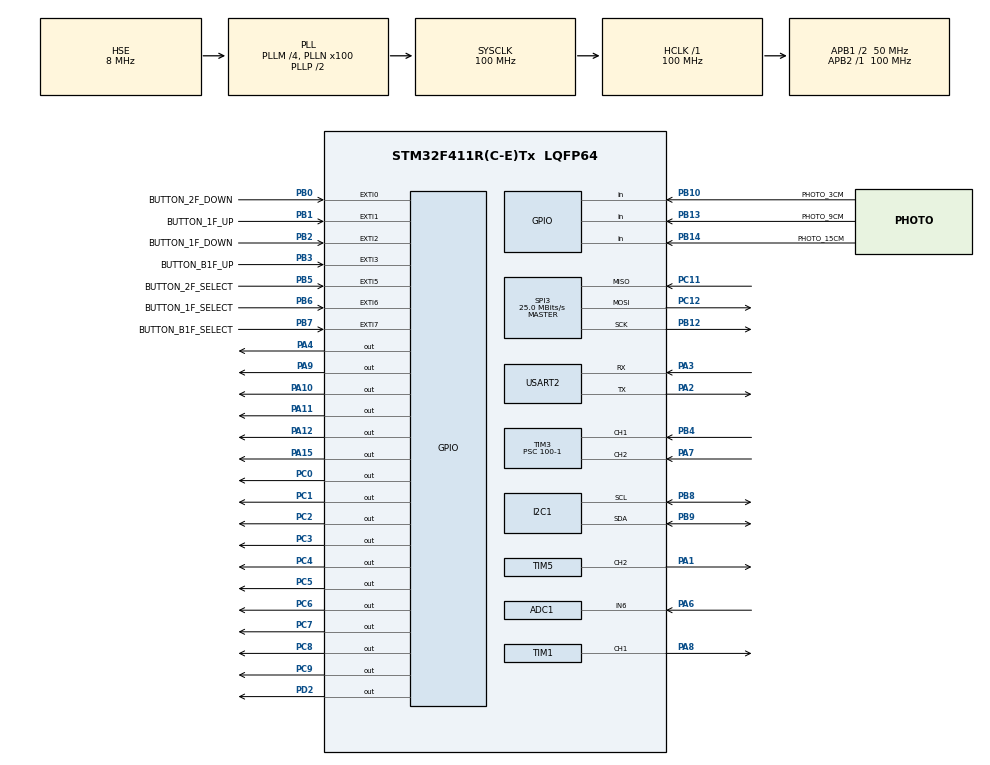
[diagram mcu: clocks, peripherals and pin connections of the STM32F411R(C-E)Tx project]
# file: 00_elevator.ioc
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ADC1.Channel-11\#ChannelRegularConversion=ADC_CHANNEL_6
ADC1.ContinuousConvMode=ENABLE
ADC1.NbrOfConversionFlag=1
ADC1.Rank-11\#ChannelRegularConversion=1
ADC1.SamplingTime-11\#ChannelRegularConversion=ADC_SAMPLETIME_3CYCLES
ADC1.master=1
Mcu.Family=STM32F4
Mcu.Name=STM32F411R(C-E)Tx
Mcu.Package=LQFP64
NVIC.EXTI0_IRQn=true\:0\:0\:false\:false\:true\:true\:true\:true
NVIC.EXTI1_IRQn=true\:0\:0\:false\:false\:true\:true\:true\:true
NVIC.EXTI2_IRQn=true\:0\:0\:false\:false\:true\:true\:true\:true
NVIC.EXTI3_IRQn=true\:0\:0\:false\:false\:true\:true\:true\:true
NVIC.EXTI9_5_IRQn=true\:0\:0\:false\:false\:true\:true\:true\:true
NVIC.PriorityGroup=NVIC_PRIORITYGROUP_4
PA1.Signal=S_TIM5_CH2
PA10.GPIO_Speed=GPIO_SPEED_FREQ_HIGH
PA10.Signal=GPIO_Output
PA11.GPIO_Speed=GPIO_SPEED_FREQ_HIGH
PA11.Signal=GPIO_Output
PA12.GPIO_Speed=GPIO_SPEED_FREQ_HIGH
PA12.Signal=GPIO_Output
PA13.Mode=Serial_Wire
PA13.Signal=SYS_JTMS-SWDIO
PA14.Mode=Serial_Wire
PA14.Signal=SYS_JTCK-SWCLK
PA15.Signal=GPIO_Output
PA2.Mode=Asynchronous
PA2.Signal=USART2_TX
PA3.Mode=Asynchronous
PA3.Signal=USART2_RX
PA4.Signal=GPIO_Output
PA6.Signal=ADCx_IN6
PA7.Signal=S_TIM3_CH2
PA8.Signal=S_TIM1_CH1
PA9.GPIO_Speed=GPIO_SPEED_FREQ_HIGH
PA9.Signal=GPIO_Output
PB0.GPIO_Label=BUTTON_2F_DOWN
PB0.GPIO_ModeDefaultEXTI=GPIO_MODE_IT_FALLING
PB0.Signal=GPXTI0
PB1.GPIO_Label=BUTTON_1F_UP
PB1.GPIO_ModeDefaultEXTI=GPIO_MODE_IT_FALLING
PB1.Signal=GPXTI1
PB10.GPIO_Label=PHOTO_3CM
PB10.Signal=GPIO_Input
PB12.Mode=Full_Duplex_Master
PB12.Signal=SPI3_SCK
PB13.GPIO_Label=PHOTO_9CM
PB13.Signal=GPIO_Input
PB14.GPIO_Label=PHOTO_15CM
PB14.Signal=GPIO_Input
PB2.GPIO_Label=BUTTON_1F_DOWN
PB2.GPIO_ModeDefaultEXTI=GPIO_MODE_IT_FALLING
PB2.Signal=GPXTI2
PB3.GPIO_Label=BUTTON_B1F_UP
PB3.GPIO_ModeDefaultEXTI=GPIO_MODE_IT_FALLING
PB3.Signal=GPXTI3
PB4.Signal=S_TIM3_CH1
PB5.GPIO_Label=BUTTON_2F_SELECT
PB5.GPIO_ModeDefaultEXTI=GPIO_MODE_IT_FALLING
PB5.Signal=GPXTI5
PB6.GPIO_Label=BUTTON_1F_SELECT
PB6.GPIO_ModeDefaultEXTI=GPIO_MODE_IT_FALLING
PB6.Signal=GPXTI6
PB7.GPIO_Label=BUTTON_B1F_SELECT
PB7.GPIO_ModeDefaultEXTI=GPIO_MODE_IT_FALLING
PB7.Signal=GPXTI7
PB8.Mode=I2C
PB8.Signal=I2C1_SCL
PB9.Mode=I2C
PB9.Signal=I2C1_SDA
PC0.Signal=GPIO_Output
PC1.Signal=GPIO_Output
PC11.Mode=Full_Duplex_Master
PC11.Signal=SPI3_MISO
PC12.Mode=Full_Duplex_Master
PC12.Signal=SPI3_MOSI
PC2.Signal=GPIO_Output
PC3.Signal=GPIO_Output
PC4.Signal=GPIO_Output
PC5.Signal=GPIO_Output
PC6.Signal=GPIO_Output
PC7.Signal=GPIO_Output
PC8.Signal=GPIO_Output
PC9.Signal=GPIO_Output
PD2.Signal=GPIO_Output
PH0\ -\ OSC_IN.Mode=HSE-External-Oscillator
PH0\ -\ OSC_IN.Signal=RCC_OSC_IN
PH1\ -\ OSC_OUT.Mode=HSE-External-Oscillator
PH1\ -\ OSC_OUT.Signal=RCC_OSC_OUT
ProjectManager.HeapSize=0x200
ProjectManager.StackSize=0x400
ProjectManager.TargetToolchain=STM32CubeIDE
RCC.48MHZClocksFreq_Value=50000000
RCC.AHBFreq_Value=100000000
RCC.APB1CLKDivider=RCC_HCLK_DIV2
RCC.APB1Freq_Value=50000000
RCC.APB1TimFreq_Value=100000000
RCC.APB2Freq_Value=100000000
RCC.APB2TimFreq_Value=100000000
RCC.CortexFreq_Value=100000000
RCC.HCLKFreq_Value=100000000
RCC.HSE_VALUE=8000000
RCC.HSI_VALUE=16000000
RCC.LSE_VALUE=32768
RCC.PLLM=4
RCC.PLLN=100
RCC.PLLSourceVirtual=RCC_PLLSOURCE_HSE
RCC.SYSCLKFreq_VALUE=100000000
RCC.SYSCLKSource=RCC_SYSCLKSOURCE_PLLCLK
RCC.VCOOutputFreq_Value=200000000
SH.ADCx_IN6.0=ADC1_IN6,IN6
SH.S_TIM1_CH1.0=TIM1_CH1,PWM Generation1 CH1
SH.S_TIM3_CH1.0=TIM3_CH1,Input_Capture1_from_TI1
SH.S_TIM3_CH2.0=TIM3_CH2,Input_Capture2_from_TI2
SH.S_TIM5_CH2.0=TIM5_CH2,PWM Generation2 CH2
SPI3.CalculateBaudRate=25.0 MBits/s
SPI3.Direction=SPI_DIRECTION_2LINES
SPI3.Mode=SPI_MODE_MASTER
SPI3.VirtualType=VM_MASTER
TIM1.Channel-PWM\ Generation1\ CH1=TIM_CHANNEL_1
TIM1.Period=1000-1
TIM1.Prescaler=2000-1
TIM1.Pulse-PWM\ Generation1\ CH1=500-1
TIM11.Prescaler=100-1
TIM2.Period=65536-1
TIM2.Prescaler=100-1
TIM3.Channel-Input_Capture1_from_TI1=TIM_CHANNEL_1
TIM3.Channel-Input_Capture2_from_TI2=TIM_CHANNEL_2
TIM3.Prescaler=100-1
TIM5.Channel-PWM\ Generation2\ CH2=TIM_CHANNEL_2
TIM5.Period=1000-1
TIM5.Prescaler=2000-1
USART2.VirtualMode=VM_ASYNC
VP_TIM10_VS_ClockSourceINT.Mode=Enable_Timer
VP_TIM11_VS_ClockSourceINT.Mode=Enable_Timer
VP_TIM1_VS_ClockSourceINT.Mode=Internal
VP_TIM2_VS_ClockSourceINT.Mode=Internal
VP_TIM3_VS_ClockSourceINT.Mode=Internal
VP_TIM5_VS_ClockSourceINT.Mode=Internal
board=custom

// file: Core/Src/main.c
/* USER CODE BEGIN Header */
/**
  ******************************************************************************
  * @file           : main.c
  * @brief          : Main program body
  ******************************************************************************
  * @attention
  *
  * Copyright (c) 2025 STMicroelectronics.
  * All rights reserved.
  *
  * This software is licensed under terms that can be found in the LICENSE file
  * in the root directory of this software component.
  * If no LICENSE file comes with this software, it is provided AS-IS.
  *
  ******************************************************************************
  */
/* USER CODE END Header */
#include "main.h"
#include "adc.h"
#include "i2c.h"
#include "spi.h"
#include "tim.h"
#include "usart.h"
#include "gpio.h"

/* USER CODE BEGIN Includes */
#include "elevator.h"
#include "DHT11.h"
#include "water.h"
#include "buzzer.h"
#include "i2c_lcd.h"
/* USER CODE END Includes */

/* USER CODE BEGIN PTD */
typedef enum {
    ALWAY,       // 평상시
    OPENCLOSE,  // 문 열림, 닫힘
    DANGER,      // 위험
} LcdFlag;

LcdFlag lcd_flag = ALWAY;
uint8_t presence;

/* USER CODE END PTD */

/* USER CODE BEGIN PD */
#define TRIG_PORT GPIOA
#define TRIG_PIN  GPIO_PIN_5

/* USER CODE END PD */

/* USER CODE BEGIN PM */

#ifdef __GNUC__
/* With GCC small printf (option LD Linker->Libraries->Small printf
 * set to 'Yes') calls __io_putchar() */
#define PUTCHAR_PROTOTYPE int  __io_putchar(int ch)
#else
#define PUTCHAR_PROTOTYPE int  fputc(int ch, FILE *f)
#endif /* __GNUC__*/

/** @brief Retargets the C library printf function to the USART.
 *  @param None
 *  @retval None
 */
PUTCHAR_PROTOTYPE {
    HAL_UART_Transmit(&huart2, (uint8_t*)&ch, 1, 0xFFFF);
    if (ch == '\n') {
        HAL_UART_Transmit(&huart2, (uint8_t*)"\r", 1, 0xFFFF);
    }
    return ch;
}

/* USER CODE END PM */

/* USER CODE BEGIN PV */
extern uint8_t distance_F;
extern uint8_t distance_B;
volatile uint8_t rxdata1;
volatile uint8_t rxdata2;
volatile uint8_t rxdata3;
uint8_t presence;
uint8_t temp;
uint8_t can_operate_flag = 1;       // 엘리베이터 작동 가능 여부 플래그 (1: 가능, 0: 불가능)
/* USER CODE END PV */

void SystemClock_Config(void);
/* USER CODE BEGIN PFP */
void temp_process(void);
void water_process(void);

/* USER CODE END PFP */

int main(void)
{

  /* MCU Configuration--------------------------------------------------------*/

  /* Reset of all peripherals, Initializes the Flash interface and the Systick. */
  HAL_Init();

  /* Configure the system clock */
  SystemClock_Config();

  /* Initialize all configured peripherals */
  MX_GPIO_Init();
  MX_TIM3_Init();
  MX_USART2_UART_Init();
  MX_TIM10_Init();
  MX_I2C1_Init();
  MX_TIM1_Init();
  MX_TIM2_Init();
  MX_TIM11_Init();
  MX_SPI3_Init();
  MX_TIM5_Init();
  MX_ADC1_Init();
  /* USER CODE BEGIN 2 */
  HAL_TIM_Base_Start(&htim2);
  HAL_TIM_Base_Start(&htim11);
  HAL_TIM_Base_Start(&htim5);
  HAL_TIM_PWM_Start(&htim5, TIM_CHANNEL_2);// 서보모터
  HAL_TIM_Base_Start(&htim1);
  HAL_TIM_PWM_Start(&htim1, TIM_CHANNEL_1);//부저
  //rotateDegrees(400, DIR_CCW);
  //rotateDegrees(400, DIR_CCW);
  printf("System Started\n");
  /* USER CODE END 2 */

  /* Infinite loop */
  /* USER CODE BEGIN WHILE */
  while (1)
  {
	  temp_process();//데이터를 읽어와서 저장을 할거란 말이야/
	  if(can_operate_flag)
	  {
		  elevator_process();
	  }
      HAL_Delay(4000);
//	  rxdata1=Get_3cm_photo_data();
//	  rxdata2=Get_9cm_photo_data();
//	  rxdata3=Get_15cm_photo_data();
//
//	  HAL_Delay(500);
//    /* USER CODE END WHILE */

  }
}

void SystemClock_Config(void)
{
  RCC_OscInitTypeDef RCC_OscInitStruct = {0};
  RCC_ClkInitTypeDef RCC_ClkInitStruct = {0};

  /** Configure the main internal regulator output voltage
  */
  __HAL_RCC_PWR_CLK_ENABLE();
  __HAL_PWR_VOLTAGESCALING_CONFIG(PWR_REGULATOR_VOLTAGE_SCALE1);

  /** Initializes the RCC Oscillators according to the specified parameters
  * in the RCC_OscInitTypeDef structure.
  */
  RCC_OscInitStruct.OscillatorType = RCC_OSCILLATORTYPE_HSE;
  RCC_OscInitStruct.HSEState = RCC_HSE_ON;
  RCC_OscInitStruct.PLL.PLLState = RCC_PLL_ON;
  RCC_OscInitStruct.PLL.PLLSource = RCC_PLLSOURCE_HSE;
  RCC_OscInitStruct.PLL.PLLM = 4;
  RCC_OscInitStruct.PLL.PLLN = 100;
  RCC_OscInitStruct.PLL.PLLP = RCC_PLLP_DIV2;
  RCC_OscInitStruct.PLL.PLLQ = 4;
  if (HAL_RCC_OscConfig(&RCC_OscInitStruct) != HAL_OK)
  {
    Error_Handler();
  }

  /** Initializes the CPU, AHB and APB buses clocks
  */
  RCC_ClkInitStruct.ClockType = RCC_CLOCKTYPE_HCLK|RCC_CLOCKTYPE_SYSCLK
                              |RCC_CLOCKTYPE_PCLK1|RCC_CLOCKTYPE_PCLK2;
  RCC_ClkInitStruct.SYSCLKSource = RCC_SYSCLKSOURCE_PLLCLK;
  RCC_ClkInitStruct.AHBCLKDivider = RCC_SYSCLK_DIV1;
  RCC_ClkInitStruct.APB1CLKDivider = RCC_HCLK_DIV2;
  RCC_ClkInitStruct.APB2CLKDivider = RCC_HCLK_DIV1;

  if (HAL_RCC_ClockConfig(&RCC_ClkInitStruct, FLASH_LATENCY_3) != HAL_OK)
  {
    Error_Handler();
  }
}

/* USER CODE BEGIN 4 */
void temp_process(void)
{

	 DHT11_Init();
	 presence=DHT11_Check_Response();
	 if(presence == -1)
	 {
		 printf("No sensor data \r\n");
	 }
	 else if(presence == 1)
	 {
		 DHT11_Process();
	 }
	 delay_DHT11(3000);
}

void water_process(void)
{
	uint8_t water_warning_alarm;
	water_warning_alarm=WATER_Check();
	if(!water_warning_alarm)
	{
	    can_receive_req_B1F=0;//요청 못 받게 함.
	    printf("Cannot receive data for B1F\r\n");
	}
	else if(water_warning_alarm)
	{
		can_receive_req_B1F=1;
		printf("Can  receive data for B1F\r\n");
	}
	delay_us(2000000);
}

// lcd_flag에 따라 LCD 출력이 바뀌도록
void LCD_process()
{
   if(lcd_flag == ALWAY)
   {
      char str[15];
      lcd_command(CLEAR_DISPLAY);
      HAL_Delay(100);
      move_cursor(0, 0);
      sprintf(str, "Hum: %d, Temp :%d", RH_byte1, Temp_byte1);
      lcd_string(str);
   }
   else if(lcd_flag == OPENCLOSE)
   {
      lcd_command(CLEAR_DISPLAY);
      HAL_Delay(100);
      move_cursor(0, 0);
      lcd_string("Hello~! Bye~!");
   }
   else if(lcd_flag == DANGER)
   {
      lcd_command(CLEAR_DISPLAY);
      HAL_Delay(100);
      move_cursor(0, 0);
      lcd_string("Emergency!!");
   }
}

void FND_process()
{
   uint8_t fnd_print;
   fnd_print = current_floor - 1; // 현재 층 받아와서 (여기 값 받아와야됨)

   FND_On(fnd_print);
}

void ULTRA_process()
{
   HCSR04_Trigger(GPIOA, GPIO_PIN_10, TIM_IT_CC1);
   HCSR04_Trigger(GPIOA, GPIO_PIN_11, TIM_IT_CC2);

   printf("ch1 : %d cm, ch2 : %d cm\r\n", distance_F, distance_B);

   // LED output 핀 열어서 아래 핀번호 입력해줘야함
   // 지상 사람 감지 (LED)
   if(distance_F < 3)
      HAL_GPIO_WritePin(GPIOC, GPIO_PIN_10, 1);
   else
      HAL_GPIO_WritePin(GPIOC, GPIO_PIN_10, 0);

   // 지하 사람 감지
   if(distance_B < 3)
      HAL_GPIO_WritePin(GPIOC, GPIO_PIN_12, 1);
   else
      HAL_GPIO_WritePin(GPIOC, GPIO_PIN_12, 0);
}

/* USER CODE END 4 */

void Error_Handler(void)
{
  __disable_irq();
  while (1)
  {
  }
}
